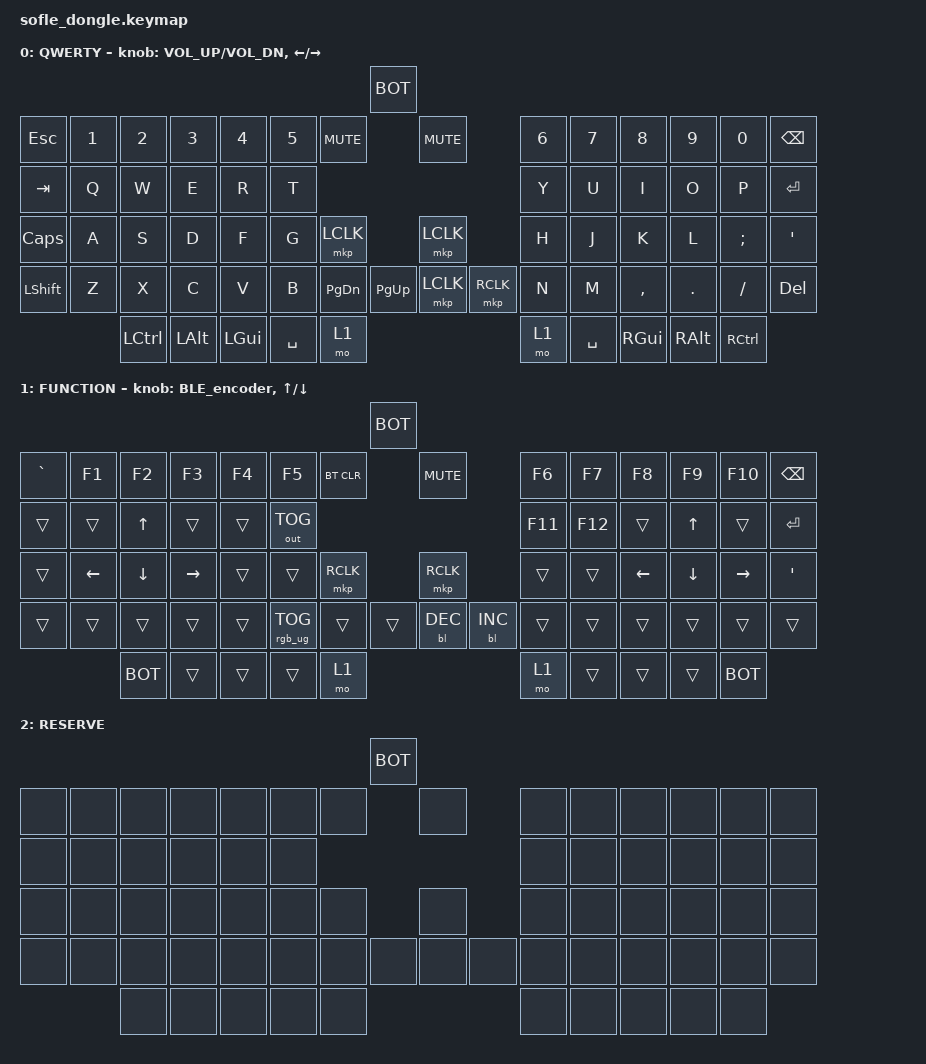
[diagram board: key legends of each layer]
/*
 * Copyright (c) 2025 ZitaoTech
 *
 * SPDX-License-Identifier: MIT
 */

#include <behaviors.dtsi>
#include <dt-bindings/zmk/keys.h>
#include <dt-bindings/zmk/bt.h>
#include <dt-bindings/zmk/outputs.h>
#include <dt-bindings/zmk/mouse.h>
#include <dt-bindings/zmk/backlight.h>
#include <dt-bindings/zmk/ext_power.h>
#include <dt-bindings/zmk/rgb.h>
#include <dt-bindings/input/input-event-codes.h>

#define FUNC 1
#define RES 2
#define BOT bootloader

/* 同 config/sofle_dongle.keymap：zip_temp_layer + ip_behaviors0~3 整块移除
 * （本分支的指针语义是「指针设备跟随层」，且方向键功能已全删）。 */
/ {
    behaviors {
        td0: tap_dance_0 {
            compatible = "zmk,behavior-tap-dance";
            #binding-cells = <0>;
            tapping-term-ms = <400>;
            bindings = <&mkp LCLK>, <&bt BT_CLR>;
        };
    };
    behaviors {
        hm: homerow_mods {
            compatible = "zmk,behavior-hold-tap";
            #binding-cells = <2>;
            tapping-term-ms = <500>;
            bindings = <&kp &kp>;
        };
    };

    behaviors {
         sp_sc: behavior_spacescroll {
           compatible = "zmk,behavior-hold-tap";
           #binding-cells = <2>;
           flavor = "tap-preferred";     /* 单击优先 */
           tapping-term-ms = <200>;       /* 长按阈值 */
           bindings = <&none &kp>;        /* hold=none, tap=space */
        };
    };

    behaviors {
        BLE_encoder: BLE_encoder {
            compatible = "zmk,behavior-sensor-rotate";
            #sensor-binding-cells = <0>;
            bindings = <&bt BT_NXT>, <&bt BT_PRV>;
        };
    };

    keymap {
        compatible = "zmk,keymap";

         default_layer {
            display-name = "QWERTY";
           bindings = <
                                                                            &BOT
&kp ESC   &kp N1   &kp N2     &kp N3   &kp N4    &kp N5    &kp C_MUTE                   &kp C_MUTE             &kp N6      &kp N7      &kp N8    &kp N9    &kp N0   &kp BSPC            
&kp TAB   &kp Q    &kp W      &kp E    &kp R     &kp T                                                         &kp Y       &kp U       &kp I     &kp O     &kp P    &kp ENTER
&kp CAPS  &kp A    &kp S      &kp D    &kp F     &kp G     &mkp LCLK                    &mkp LCLK              &kp H       &kp J       &kp K     &kp L     &kp SEMI &kp SQT
&kp LSHFT &kp Z    &kp X      &kp C    &kp V     &kp B     &kp PG_DN  &kp PG_UP         &mkp LCLK   &mkp RCLK  &kp N       &kp M       &kp COMMA &kp DOT   &kp FSLH &kp DEL
                   &kp LCTRL  &kp LALT &kp LGUI  &kp SPACE &mo 1                                               &mo 1       &kp SPACE   &kp RGUI  &kp RALT  &kp RCTRL
           >;
           sensor-bindings = <&inc_dec_kp C_VOL_UP C_VOL_DN &inc_dec_kp LEFT RIGHT>;
        };


        func_layer {
            display-name = "FUNCTION";
            bindings = <
                                                                                 &BOT
&kp GRAVE &kp F1    &kp F2     &kp F3    &kp F4   &kp F5           &bt BT_CLR                   &kp C_MUTE             &kp F6    &kp F7   &kp F8     &kp F9    &kp F10   &kp BSPC            
&trans    &trans    &kp UP     &trans    &trans   &out OUT_TOG                                                    &kp F11   &kp F12  &trans     &kp UP    &trans    &kp ENTER
&trans    &kp LEFT  &kp DOWN   &kp RIGHT &trans   &trans           &mkp RCLK                    &mkp RCLK              &trans    &trans   &kp LEFT   &kp DOWN  &kp RIGHT &kp SQT
&trans    &trans    &trans     &trans    &trans   &rgb_ug RGB_TOG  &trans     &trans            &bl BL_DEC  &bl BL_INC &trans    &trans   &trans     &trans    &trans   &trans
                    &BOT       &trans    &trans   &trans           &mo 1                                               &mo 1     &trans   &trans     &trans    &BOT 
            >;
            sensor-bindings = <&BLE_encoder &inc_dec_kp UP DOWN>;
        };

        RES_layer {
            display-name = "RESERVE";
            bindings = <
                                                                       &BOT
&none     &none     &none      &none    &none    &none   &none                        &none            &none   &none  &none   &none  &none  &none            
&none     &none     &none      &none    &none    &none                                                 &none   &none  &none   &none  &none  &none
&none     &none     &none      &none    &none    &none   &none                        &none            &none   &none  &none   &none  &none  &none
&none     &none     &none      &none    &none    &none   &none   &none                &none  &none     &none   &none  &none   &none  &none  &none
                    &none      &none    &none    &none   &none                                         &none   &none  &none   &none  &none
            >;
        };
    };
};
